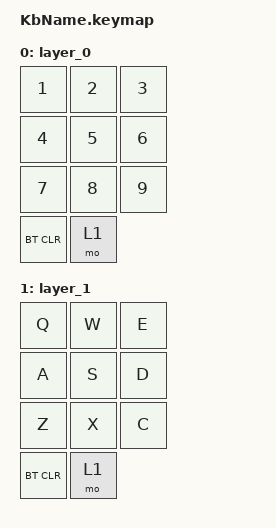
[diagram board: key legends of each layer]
#include <behaviors.dtsi>
#include <dt-bindings/zmk/keys.h>
#include <dt-bindings/zmk/bt.h>
#include <dt-bindings/zmk/outputs.h>

/ {
    keymap {
        compatible = "zmk,keymap";

        default_layer: layer_0  {
            bindings = <
                &kp NUMBER_1 &kp NUMBER_2 &kp NUMBER_3
                &kp NUMBER_4 &kp NUMBER_5 &kp NUMBER_6
                &kp NUMBER_7 &kp NUMBER_8 &kp NUMBER_9
                &bt BT_CLR &mo 1 
            >;
        };
        alt_layer: layer_1 {
            bindings = <
                /* every key bound here, no &trans needed if you want a fully separate layout */
                &kp Q &kp W &kp E
                &kp A &kp S &kp D
                &kp Z &kp X &kp C
                &bt BT_CLR  &mo 1
            >;
        };
    };
};

/*
&bt BT_CLR_ALL  &kp NUMBER_2    &kp NUMBER_3
                &bt BT_NXT  &bt BT_PRV    &kp NUMBER_6
                &out OUT_USB &out OUT_BLE   &kp NUMBER_9
                &bt BT_CLR  */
